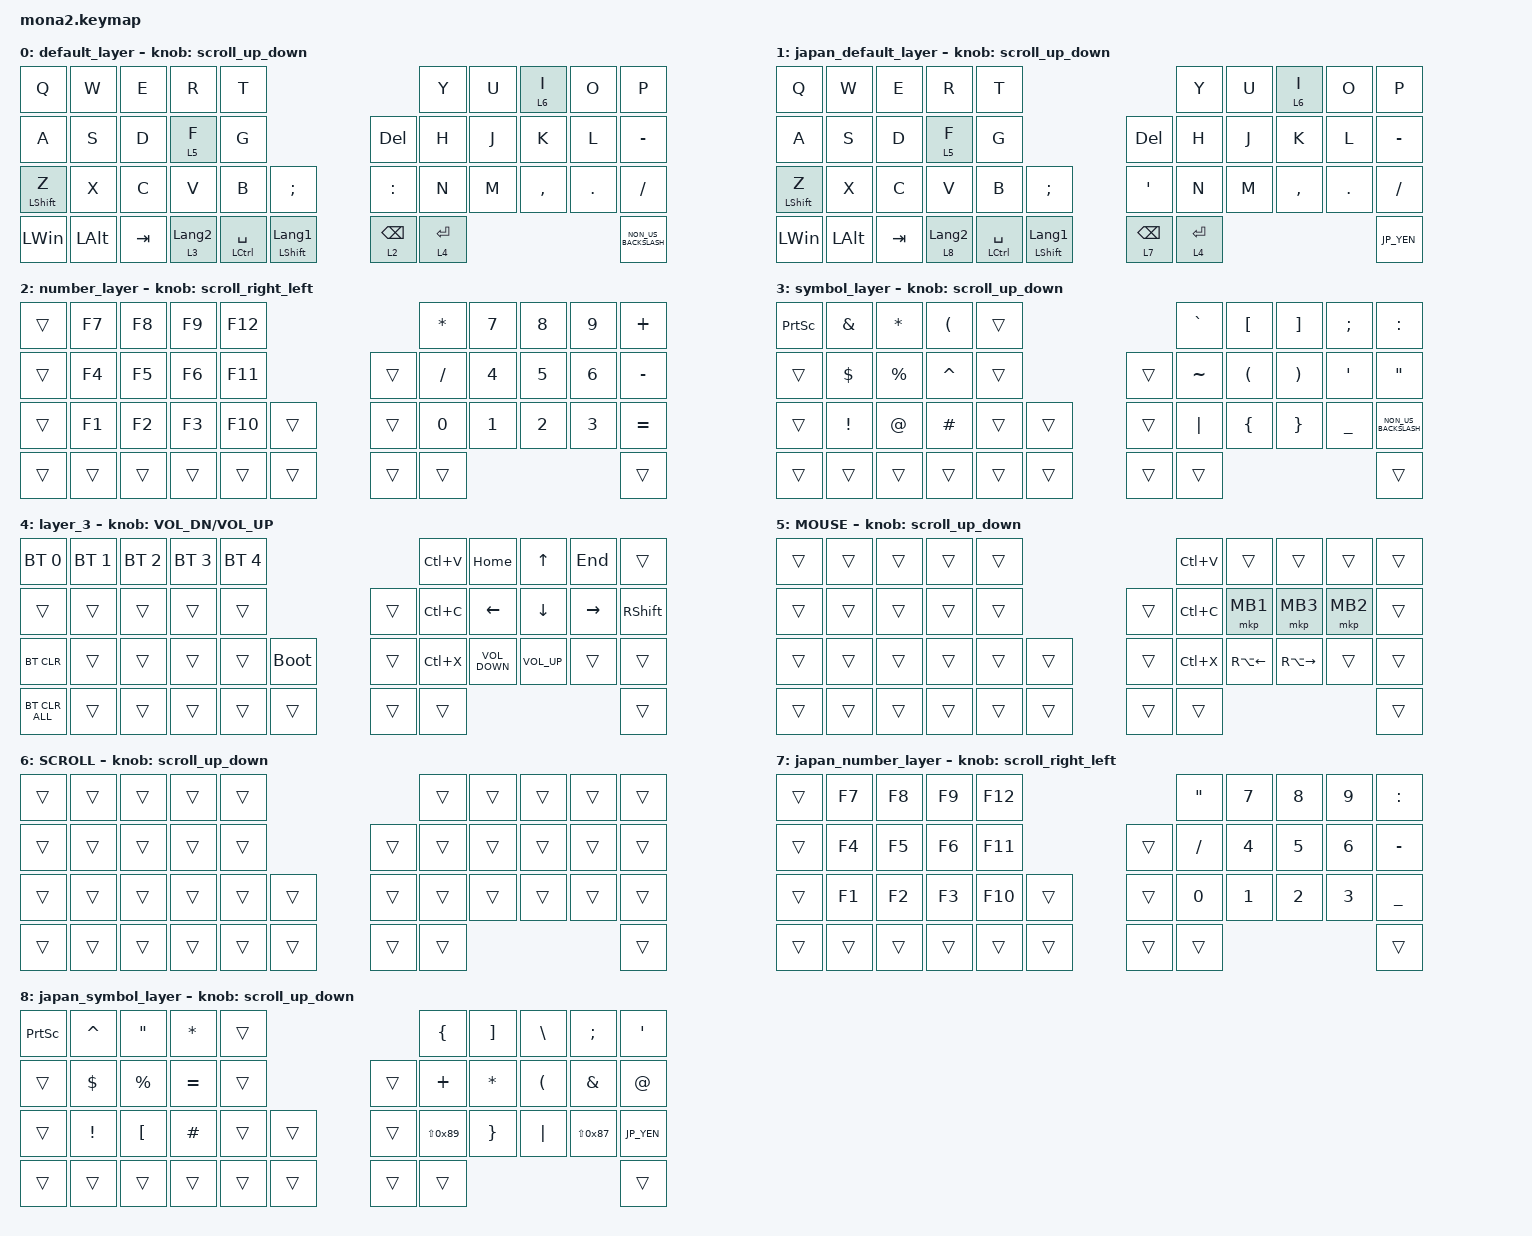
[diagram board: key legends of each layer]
#include <input/processors.dtsi>
#include <dt-bindings/zmk/input_transform.h>
#include <zephyr/dt-bindings/input/input-event-codes.h>
#include <behaviors.dtsi>
#include <dt-bindings/zmk/bt.h>
#include <dt-bindings/zmk/keys.h>
#include <dt-bindings/zmk/pointing.h>

#define ZMK_POINTING_DEFAULT_SCRL_VAL 100
#define MOUSE 5
#define SCROLL 6

// OS設定を日本語キーボードのまま使用するための変換定義
#define JP_DQUOTE       AT                // "
#define JP_AMPERSAND    CARET             // &
#define JP_QUOTE        AMPERSAND         // '
#define JP_EQUAL        UNDER             // =
#define JP_CARET        EQUAL             // ^
#define JP_YEN          0x89              // ¥
#define JP_PLUS         COLON             // +
#define JP_TILDE        PLUS              // ~
#define JP_PIPE         LS(0x89)          // |
#define JP_AT           LEFT_BRACKET      // @
#define JP_COLON        SINGLE_QUOTE      // :
#define JP_ASTERISK     DOUBLE_QUOTES     // *
#define JP_BACKQUOTE    LEFT_BRACE        // `
#define JP_UNDERSCORE   LS(0x87)          // _
#define JP_LBRACKET     RIGHT_BRACKET     // [
#define JP_RBRACKET     BACKSLASH         // ]
#define JP_LPAREN       ASTERISK          // (
#define JP_RPAREN       LEFT_PARENTHESIS  // )
#define JP_LBRACE       RIGHT_BRACE       // {
#define JP_RBRACE       PIPE              // }
#define JP_KANA         LANGUAGE_1        // かな
#define JP_EISU         LANGUAGE_2        // 英数
#define JP_HANZEN       GRAVE             // 半角/全角

&trackball_central_listener {
    scroller {
        layers = <SCROLL>;
        input-processors = <&zip_xy_to_scroll_mapper>;
    };
};

&mt {
    flavor = "balanced";
    quick-tap-ms = <0>;
};

&lt {
    quick-tap-ms = <300>;
    flavor = "balanced";
};

/ {
    combos {
        compatible = "zmk,combos";

        esc {
            bindings = <&kp ESCAPE>;
            key-positions = <1 2>;
        };

        tab {
            bindings = <&kp TAB>;
            key-positions = <11 12>;
        };

        to_japan_layer {
            bindings = <&to 1>;
            key-positions = <9 41>;
        };

        to_us_layer {
            bindings = <&to 0>;
            key-positions = <0 33>;
        };
    };

    macros {
        to_layer_0: to_layer_0 {
            compatible = "zmk,behavior-macro-one-param";
            #binding-cells = <1>;
            bindings = <&to 0 &macro_param_1to1 &kp MACRO_PLACEHOLDER>;
            label = "TO_LAYER_0";
        };
    };

    behaviors {
        lt_to_layer_0: lt_to_layer_0 {
            compatible = "zmk,behavior-hold-tap";
            label = "LAYER_TAP_TO_0";
            bindings = <&mo>, <&to_layer_0>;

            #binding-cells = <2>;
            tapping-term-ms = <200>;
        };

        scroll_up_down: mouse_wheel_up_down {
            compatible = "zmk,behavior-sensor-rotate";
            #sensor-binding-cells = <0>;
            bindings = <&msc SCRL_DOWN>, <&msc SCRL_UP>;

            tap-ms = <20>;
        };

        scroll_right_left: mouse_wheel_right_left {
            compatible = "zmk,behavior-sensor-rotate";
            #sensor-binding-cells = <0>;
            bindings = <&msc SCRL_LEFT>, <&msc SCRL_RIGHT>;

            tap-ms = <20>;
        };
    };

    keymap {
        compatible = "zmk,keymap";

        default_layer {
            bindings = <
&kp Q             &kp W         &kp E    &kp R             &kp T                                                                 &kp Y        &kp U  &lt 6 I    &kp O    &kp P
&kp A             &kp S         &kp D    &lt 5 F           &kp G                                                &kp DELETE       &kp H        &kp J  &kp K      &kp L    &kp MINUS
&mt LEFT_SHIFT Z  &kp X         &kp C    &kp V             &kp B                   &kp SEMICOLON                &kp COLON        &kp N        &kp M  &kp COMMA  &kp DOT  &kp SLASH
&kp LEFT_WIN      &kp LEFT_ALT  &kp TAB  &lt 3 LANGUAGE_2  &mt LEFT_CONTROL SPACE  &mt LEFT_SHIFT LANGUAGE_1    &lt 2 BACKSPACE  &lt 4 ENTER                             &kp NON_US_BACKSLASH
            >;

            sensor-bindings = <&scroll_up_down>;
        };

        japan_default_layer {
            bindings = <
&kp Q             &kp W         &kp E    &kp R             &kp T                                                                 &kp Y        &kp U  &lt 6 I    &kp O    &kp P
&kp A             &kp S         &kp D    &lt 5 F           &kp G                                                &kp DELETE       &kp H        &kp J  &kp K      &kp L    &kp MINUS
&mt LEFT_SHIFT Z  &kp X         &kp C    &kp V             &kp B                   &kp SEMICOLON                &kp JP_COLON        &kp N        &kp M  &kp COMMA  &kp DOT  &kp SLASH
&kp LEFT_WIN      &kp LEFT_ALT  &kp TAB  &lt 8 LANGUAGE_2  &mt LEFT_CONTROL SPACE  &mt LEFT_SHIFT LANGUAGE_1    &lt 7 BACKSPACE  &lt 4 ENTER                             &kp JP_YEN
            >;

            sensor-bindings = <&scroll_up_down>;
        };

        number_layer {
            bindings = <
&trans  &kp F7  &kp F8  &kp F9  &kp F12                    &kp ASTERISK  &kp NUMBER_7  &kp NUMBER_8  &kp NUMBER_9  &kp PLUS
&trans  &kp F4  &kp F5  &kp F6  &kp F11            &trans  &kp SLASH     &kp NUMBER_4  &kp N5        &kp NUMBER_6  &kp MINUS
&trans  &kp F1  &kp F2  &kp F3  &kp F10  &trans    &trans  &kp N0        &kp NUMBER_1  &kp NUMBER_2  &kp NUMBER_3  &kp EQUAL
&trans  &trans  &trans  &trans  &trans   &trans    &trans  &trans                                                  &trans
            >;

            sensor-bindings = <&scroll_right_left>;
        };

        symbol_layer {
            bindings = <
&kp PRINTSCREEN  &kp AMPERSAND    &kp ASTERISK  &kp LEFT_PARENTHESIS  &trans                    &kp GRAVE  &kp LEFT_BRACKET      &kp RIGHT_BRACKET      &kp SEMICOLON   &kp COLON
&trans           &kp DOLLAR       &kp PERCENT   &kp CARET             &trans            &trans  &kp TILDE  &kp LEFT_PARENTHESIS  &kp RIGHT_PARENTHESIS  &kp SQT         &kp DOUBLE_QUOTES
&trans           &kp EXCLAMATION  &kp AT_SIGN   &kp HASH              &trans  &trans    &trans  &kp PIPE   &kp LEFT_BRACE        &kp RIGHT_BRACE        &kp UNDERSCORE  &kp NON_US_BACKSLASH
&trans           &trans           &trans        &trans                &trans  &trans    &trans  &trans                                                                  &trans
            >;

            sensor-bindings = <&scroll_up_down>;
        };

        layer_3 {
            bindings = <
&bt BT_SEL 0    &bt BT_SEL 1  &bt BT_SEL 2  &bt BT_SEL 3  &bt BT_SEL 4                         &kp LC(V)  &kp HOME           &kp UP_ARROW     &kp END          &trans
&trans          &trans        &trans        &trans        &trans                       &trans  &kp LC(C)  &kp LEFT_ARROW     &kp DOWN_ARROW   &kp RIGHT_ARROW  &kp RIGHT_SHIFT
&bt BT_CLR      &trans        &trans        &trans        &trans        &bootloader    &trans  &kp LC(X)  &kp C_VOLUME_DOWN  &kp C_VOLUME_UP  &trans           &trans
&bt BT_CLR_ALL  &trans        &trans        &trans        &trans        &trans         &trans  &trans                                                          &trans
            >;

            sensor-bindings = <&inc_dec_kp C_VOL_DN C_VOL_UP>;
        };

        MOUSE {
            bindings = <
&trans  &trans  &trans  &trans  &trans                    &kp LC(V)  &trans              &trans               &trans    &trans
&trans  &trans  &trans  &trans  &trans            &trans  &kp LC(C)  &mkp MB1            &mkp MB3             &mkp MB2  &trans
&trans  &trans  &trans  &trans  &trans  &trans    &trans  &kp LC(X)  &kp RA(LEFT_ARROW)  &kp RA(RIGHT_ARROW)  &trans    &trans
&trans  &trans  &trans  &trans  &trans  &trans    &trans  &trans                                                        &trans
            >;

            sensor-bindings = <&scroll_up_down>;
        };

        SCROLL {
            bindings = <
&trans  &trans  &trans  &trans  &trans                    &trans  &trans  &trans  &trans  &trans
&trans  &trans  &trans  &trans  &trans            &trans  &trans  &trans  &trans  &trans  &trans
&trans  &trans  &trans  &trans  &trans  &trans    &trans  &trans  &trans  &trans  &trans  &trans
&trans  &trans  &trans  &trans  &trans  &trans    &trans  &trans                          &trans
            >;

            sensor-bindings = <&scroll_up_down>;
        };

        japan_number_layer {
            bindings = <
&trans  &kp F7  &kp F8  &kp F9  &kp F12                    &kp JP_ASTERISK  &kp NUMBER_7  &kp NUMBER_8  &kp NUMBER_9  &kp JP_PLUS
&trans  &kp F4  &kp F5  &kp F6  &kp F11            &trans  &kp SLASH     &kp NUMBER_4  &kp N5        &kp NUMBER_6  &kp MINUS
&trans  &kp F1  &kp F2  &kp F3  &kp F10  &trans    &trans  &kp N0        &kp NUMBER_1  &kp NUMBER_2  &kp NUMBER_3  &kp JP_EQUAL
&trans  &trans  &trans  &trans  &trans   &trans    &trans  &trans                                                  &trans
            >;

            sensor-bindings = <&scroll_right_left>;
        };

        japan_symbol_layer {
            bindings = <
&kp PRINTSCREEN  &kp JP_AMPERSAND    &kp JP_ASTERISK  &kp JP_LPAREN  &trans                    &kp JP_BACKQUOTE  &kp JP_LBRACKET      &kp JP_RBRACKET      &kp SEMICOLON   &kp JP_COLON
&trans           &kp DOLLAR       &kp PERCENT   &kp JP_CARET             &trans            &trans  &kp JP_TILDE  &kp JP_LPAREN  &kp JP_RPAREN  &kp JP_QUOTE         &kp JP_DQUOTE
&trans           &kp EXCLAMATION  &kp JP_AT   &kp HASH              &trans  &trans    &trans  &kp JP_PIPE   &kp JP_LBRACE        &kp JP_RBRACE        &kp JP_UNDERSCORE  &kp JP_YEN
&trans           &trans           &trans        &trans                &trans  &trans    &trans  &trans                                                                  &trans
            >;

            sensor-bindings = <&scroll_up_down>;
        };
    };
};
